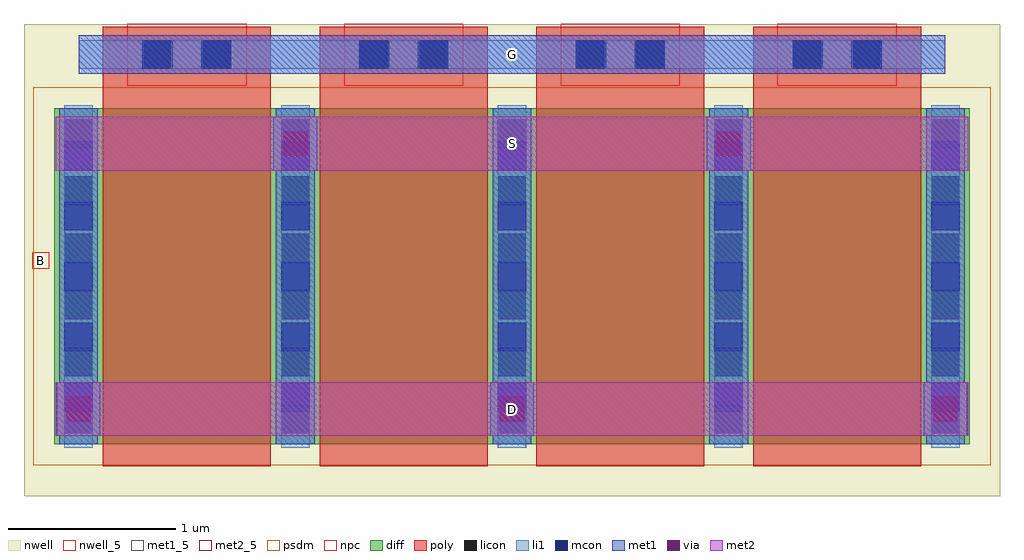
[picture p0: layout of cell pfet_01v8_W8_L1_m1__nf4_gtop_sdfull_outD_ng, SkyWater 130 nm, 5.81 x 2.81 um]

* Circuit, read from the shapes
.subckt pfet_01v8_W8_L1_m1__nf4_gtop_sdfull_outD_ng B D G S
XM1 S G D B sky130_fd_pr__pfet_01v8 w=2 l=1 m=4
.ends

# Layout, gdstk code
import gdstk
lib = gdstk.Library(unit=1e-6, precision=1e-09)
def R(c, l, rs):  # rectangles x0, y0, x1, y1
    for r in rs: c.add(gdstk.rectangle(r[:2], r[2:], *l))
def A(c, l, x, y, w, h, nx, ny, dx, dy):  # array of equal rectangles
    R(c, l, [(x+i*dx, y+j*dy, x+i*dx+w, y+j*dy+h) for i in range(nx) for j in range(ny)])
nwell_5 = (64, 5)
nwell = (64, 20)
diff = (65, 20)
poly = (66, 20)
licon = (66, 44)
li1 = (67, 20)
mcon = (67, 44)
met1_5 = (68, 5)
met1 = (68, 20)
via = (68, 44)
met2_5 = (69, 5)
met2 = (69, 20)
psdm = (94, 20)
npc = (95, 20)

sky130_fd_pr__pfet_01v8_ = lib.new_cell('sky130_fd_pr__pfet_01v8_HM56CJ')
R(sky130_fd_pr__pfet_01v8_, nwell, [(-2.905,-1.49,2.905,1.32)])
R(sky130_fd_pr__pfet_01v8_, diff, [(-2.725,-1.18,2.725,0.82)])
A(sky130_fd_pr__pfet_01v8_, poly, -2.435, -1.31, 1, 2.615, 4, 1, 1.29, 0)
A(sky130_fd_pr__pfet_01v8_, licon, -2.665, -1.115, 0.17, 0.17, 5, 6, 1.29, 0.34)
R(sky130_fd_pr__pfet_01v8_, licon, [(-2.19,1.055,-2.02,1.225), (-1.85,1.055,-1.68,1.225), (-0.9,1.055,-0.73,1.225), (-0.56,1.055,-0.39,1.225), (0.39,1.055,0.56,1.225), (0.73,1.055,0.9,1.225), (1.68,1.055,1.85,1.225), (2.02,1.055,2.19,1.225)])
A(sky130_fd_pr__pfet_01v8_, li1, -2.665, -1.2, 0.17, 2.04, 5, 1, 1.29, 0)
R(sky130_fd_pr__pfet_01v8_, li1, [(-2.58,1.055,2.58,1.225)])
A(sky130_fd_pr__pfet_01v8_, mcon, -2.665, -0.985, 0.17, 0.17, 5, 5, 1.29, 0.36)
R(sky130_fd_pr__pfet_01v8_, mcon, [(-2.2,1.055,-2.03,1.225), (-1.84,1.055,-1.67,1.225), (-0.91,1.055,-0.74,1.225), (-0.55,1.055,-0.38,1.225), (0.38,1.055,0.55,1.225), (0.74,1.055,0.91,1.225), (1.67,1.055,1.84,1.225), (2.03,1.055,2.2,1.225)])
A(sky130_fd_pr__pfet_01v8_, met1, -2.695, -1.18, 0.23, 2, 5, 1, 1.29, 0)
A(sky130_fd_pr__pfet_01v8_, met1, -2.415, 1.025, 0.96, 0.03, 4, 2, 1.29, 0.2)
R(sky130_fd_pr__pfet_01v8_, met1, [(-2.58,1.055,2.58,1.225)])
R(sky130_fd_pr__pfet_01v8_, psdm, [(-2.85,-1.305,2.85,0.945)])
A(sky130_fd_pr__pfet_01v8_, npc, -2.29, 0.955, 0.71, 0.37, 4, 1, 1.29, 0)
sky130_fd_pr__pfet_01v8_.add(gdstk.Label('D0', (-2.58,-0.18), layer=67, texttype=5))
sky130_fd_pr__pfet_01v8_.add(gdstk.Label('G', (1.935,1.14), layer=67, texttype=5))
sky130_fd_pr__pfet_01v8_.add(gdstk.Label('G', (0.645,1.14), layer=67, texttype=5))
sky130_fd_pr__pfet_01v8_.add(gdstk.Label('G', (-0.645,1.14), layer=67, texttype=5))
sky130_fd_pr__pfet_01v8_.add(gdstk.Label('G', (-1.935,1.14), layer=67, texttype=5))
sky130_fd_pr__pfet_01v8_.add(gdstk.Label('S1', (-1.29,-0.18), layer=67, texttype=5))
sky130_fd_pr__pfet_01v8_.add(gdstk.Label('D2', (0,-0.18), layer=67, texttype=5))
sky130_fd_pr__pfet_01v8_.add(gdstk.Label('S3', (1.29,-0.18), layer=67, texttype=5))

pfet_01v8_w8_l1_m1__nf4_ = lib.new_cell('pfet_01v8_W8_L1_m1__nf4_gtop_sdfull_outD_ng')
R(pfet_01v8_w8_l1_m1__nf4_, nwell_5, [(0.05,1.355,0.15,1.455)])
R(pfet_01v8_w8_l1_m1__nf4_, nwell, [(0.05,1.355,0.15,1.455)])
R(pfet_01v8_w8_l1_m1__nf4_, met1_5, [(0.325,2.515,5.485,2.745)])
A(pfet_01v8_w8_l1_m1__nf4_, met1, 0.195, 0.36, 0.26, 0.32, 3, 1, 2.58, 0)
R(pfet_01v8_w8_l1_m1__nf4_, met1, [(1.485,1.94,1.745,2.26), (4.065,1.94,4.325,2.26), (0.325,2.515,5.485,2.745)])
A(pfet_01v8_w8_l1_m1__nf4_, via, 0.25, 0.445, 0.15, 0.15, 3, 1, 2.58, 0)
R(pfet_01v8_w8_l1_m1__nf4_, via, [(1.54,2.025,1.69,2.175), (4.12,2.025,4.27,2.175)])
R(pfet_01v8_w8_l1_m1__nf4_, met2_5, [(0.19,0.36,5.62,0.68), (0.19,1.94,5.62,2.26)])
R(pfet_01v8_w8_l1_m1__nf4_, met2, [(0.19,0.36,5.62,0.68), (0.19,1.94,5.62,2.26)])
pfet_01v8_w8_l1_m1__nf4_.add(gdstk.Reference(sky130_fd_pr__pfet_01v8_, (2.905,1.49)))
pfet_01v8_w8_l1_m1__nf4_.add(gdstk.Label('S', (2.905,2.1), layer=69, texttype=5))
pfet_01v8_w8_l1_m1__nf4_.add(gdstk.Label('D', (2.905,0.52), layer=69, texttype=5))
pfet_01v8_w8_l1_m1__nf4_.add(gdstk.Label('G', (2.905,2.63), layer=68, texttype=5))
pfet_01v8_w8_l1_m1__nf4_.add(gdstk.Label('B', (0.1,1.405), layer=64, texttype=5))

lib.write_gds('pfet_01v8_W8_L1_m1__nf4_gtop_sdfull_outD_ng.gds')
